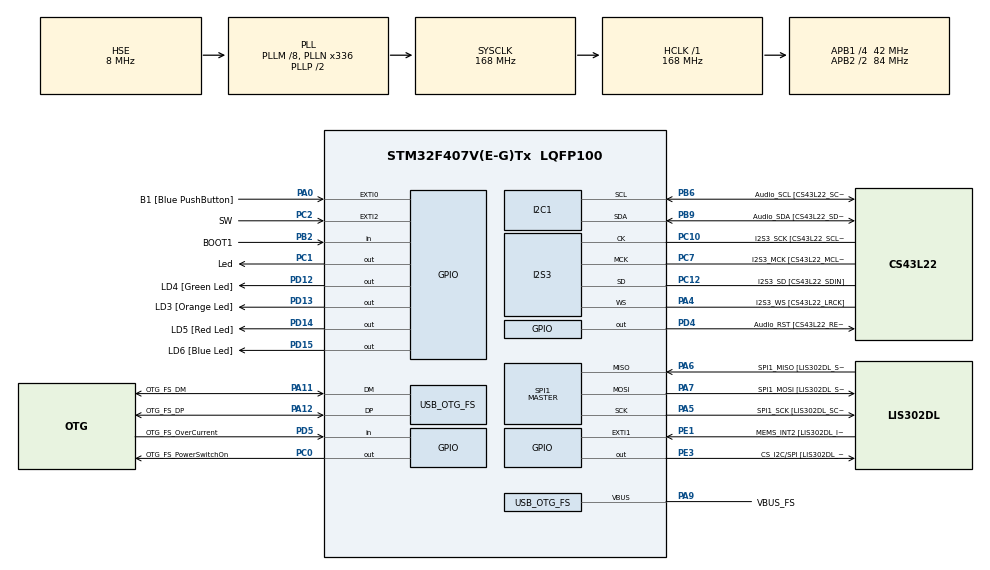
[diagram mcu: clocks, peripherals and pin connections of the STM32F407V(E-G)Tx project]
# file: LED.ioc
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I2S3.AudioFreq-Half_Duplex_Master=I2S_AUDIOFREQ_96K
I2S3.ErrorAudioFreq=-2.34 %
I2S3.ErrorAudioFreq-Half_Duplex_Master=0.8 %
I2S3.FullDuplexMode=I2S_FULLDUPLEXMODE_DISABLE
I2S3.Instance=SPI$Index
I2S3.RealAudioFreq=93.75 KHz
I2S3.RealAudioFreq-Half_Duplex_Master=96.774 KHz
I2S3.VirtualMode=I2S_MODE_MASTER
Mcu.Family=STM32F4
Mcu.Name=STM32F407V(E-G)Tx
Mcu.Package=LQFP100
NVIC.EXTI2_IRQn=true\:0\:0\:false\:false\:true\:true\:true\:true
NVIC.OTG_FS_IRQn=true\:0\:0\:false\:false\:true\:true\:true\:true
NVIC.PriorityGroup=NVIC_PRIORITYGROUP_0
PA0-WKUP.GPIO_Label=B1 [Blue PushButton]
PA0-WKUP.GPIO_ModeDefaultEXTI=GPIO_MODE_EVT_RISING
PA0-WKUP.GPIO_PuPd=GPIO_NOPULL
PA0-WKUP.Signal=GPXTI0
PA10.GPIO_Label=OTG_FS_ID
PA10.GPIO_Mode=GPIO_MODE_AF_PP
PA10.GPIO_PuPd=GPIO_NOPULL
PA10.GPIO_Speed=GPIO_SPEED_FREQ_LOW
PA10.Signal=USB_OTG_FS_ID
PA11.GPIO_Label=OTG_FS_DM
PA11.GPIO_Mode=GPIO_MODE_AF_PP
PA11.GPIO_PuPd=GPIO_NOPULL
PA11.GPIO_Speed=GPIO_SPEED_FREQ_LOW
PA11.Mode=Host_Only
PA11.Signal=USB_OTG_FS_DM
PA12.GPIO_Label=OTG_FS_DP
PA12.GPIO_Mode=GPIO_MODE_AF_PP
PA12.GPIO_PuPd=GPIO_NOPULL
PA12.GPIO_Speed=GPIO_SPEED_FREQ_LOW
PA12.Mode=Host_Only
PA12.Signal=USB_OTG_FS_DP
PA13.GPIO_Label=SWDIO
PA13.Mode=Serial_Wire
PA13.Signal=SYS_JTMS-SWDIO
PA14.GPIO_Label=SWCLK
PA14.Mode=Serial_Wire
PA14.Signal=SYS_JTCK-SWCLK
PA4.GPIO_Label=I2S3_WS [CS43L22_LRCK]
PA4.GPIO_Mode=GPIO_MODE_AF_PP
PA4.GPIO_PuPd=GPIO_NOPULL
PA4.GPIO_Speed=GPIO_SPEED_FREQ_LOW
PA4.Mode=Half_Duplex_Master
PA4.Signal=I2S3_WS
PA5.GPIO_Label=SPI1_SCK [LIS302DL_SCL/SPC]
PA5.GPIO_Mode=GPIO_MODE_AF_PP
PA5.GPIO_PuPd=GPIO_NOPULL
PA5.GPIO_Speed=GPIO_SPEED_FREQ_LOW
PA5.Mode=Full_Duplex_Master
PA5.Signal=SPI1_SCK
PA6.GPIO_Label=SPI1_MISO [LIS302DL_SDO]
PA6.GPIO_Mode=GPIO_MODE_AF_PP
PA6.GPIO_PuPd=GPIO_NOPULL
PA6.GPIO_Speed=GPIO_SPEED_FREQ_LOW
PA6.Mode=Full_Duplex_Master
PA6.Signal=SPI1_MISO
PA7.GPIO_Label=SPI1_MOSI [LIS302DL_SDA/SDI/SDO]
PA7.GPIO_Mode=GPIO_MODE_AF_PP
PA7.GPIO_PuPd=GPIO_NOPULL
PA7.GPIO_Speed=GPIO_SPEED_FREQ_LOW
PA7.Mode=Full_Duplex_Master
PA7.Signal=SPI1_MOSI
PA9.GPIO_Label=VBUS_FS
PA9.GPIO_Mode=GPIO_MODE_INPUT
PA9.GPIO_PuPd=GPIO_NOPULL
PA9.Mode=Activate_VBUS
PA9.Signal=USB_OTG_FS_VBUS
PB10.GPIO_Label=CLK_IN [MP45DT02_CLK]
PB10.GPIO_Mode=GPIO_MODE_AF_PP
PB10.GPIO_PuPd=GPIO_NOPULL
PB10.GPIO_Speed=GPIO_SPEED_FREQ_LOW
PB10.Signal=I2S2_CK
PB2.GPIO_Label=BOOT1
PB2.GPIO_Mode=GPIO_MODE_INPUT
PB2.GPIO_PuPd=GPIO_NOPULL
PB2.Signal=GPIO_Input
PB3.GPIO_Label=SWO
PB3.Signal=SYS_JTDO-SWO
PB6.GPIO_Label=Audio_SCL [CS43L22_SCL]
PB6.GPIO_Mode=GPIO_MODE_AF_OD
PB6.GPIO_Pu=GPIO_PULLUP
PB6.GPIO_PuPd=GPIO_NOPULL
PB6.GPIO_Speed=GPIO_SPEED_FREQ_LOW
PB6.Mode=I2C
PB6.Signal=I2C1_SCL
PB9.GPIO_Label=Audio_SDA [CS43L22_SDA]
PB9.GPIO_Mode=GPIO_MODE_AF_OD
PB9.GPIO_Pu=GPIO_PULLUP
PB9.GPIO_PuPd=GPIO_NOPULL
PB9.GPIO_Speed=GPIO_SPEED_FREQ_LOW
PB9.Mode=I2C
PB9.Signal=I2C1_SDA
PC0.GPIO_Label=OTG_FS_PowerSwitchOn
PC0.GPIO_PuPd=GPIO_NOPULL
PC0.GPIO_Speed=GPIO_SPEED_FREQ_LOW
PC0.PinState=GPIO_PIN_SET
PC0.Signal=GPIO_Output
PC1.GPIO_Label=Led
PC1.Signal=GPIO_Output
PC10.GPIO_Label=I2S3_SCK [CS43L22_SCLK]
PC10.GPIO_Mode=GPIO_MODE_AF_PP
PC10.GPIO_PuPd=GPIO_NOPULL
PC10.GPIO_Speed=GPIO_SPEED_FREQ_LOW
PC10.Mode=Half_Duplex_Master
PC10.Signal=I2S3_CK
PC12.GPIO_Label=I2S3_SD [CS43L22_SDIN]
PC12.GPIO_Mode=GPIO_MODE_AF_PP
PC12.GPIO_PuPd=GPIO_NOPULL
PC12.GPIO_Speed=GPIO_SPEED_FREQ_LOW
PC12.Mode=Half_Duplex_Master
PC12.Signal=I2S3_SD
PC14-OSC32_IN.GPIO_Label=PC14-OSC32_IN
PC14-OSC32_IN.Mode=LSE-External-Oscillator
PC14-OSC32_IN.Signal=RCC_OSC32_IN
PC15-OSC32_OUT.GPIO_Label=PC15-OSC32_OUT
PC15-OSC32_OUT.Mode=LSE-External-Oscillator
PC15-OSC32_OUT.Signal=RCC_OSC32_OUT
PC2.GPIO_Label=SW
PC2.Signal=GPXTI2
PC3.GPIO_Label=PDM_OUT [MP45DT02_DOUT]
PC3.GPIO_Mode=GPIO_MODE_AF_PP
PC3.GPIO_PuPd=GPIO_NOPULL
PC3.GPIO_Speed=GPIO_SPEED_FREQ_LOW
PC3.Signal=I2S2_SD
PC7.GPIO_Label=I2S3_MCK [CS43L22_MCLK]
PC7.GPIO_Mode=GPIO_MODE_AF_PP
PC7.GPIO_PuPd=GPIO_NOPULL
PC7.GPIO_Speed=GPIO_SPEED_FREQ_LOW
PC7.Mode=Master_Clock_Activated
PC7.Signal=I2S3_MCK
PD12.GPIO_Label=LD4 [Green Led]
PD12.GPIO_PuPd=GPIO_NOPULL
PD12.GPIO_Speed=GPIO_SPEED_FREQ_LOW
PD12.Signal=GPIO_Output
PD13.GPIO_Label=LD3 [Orange Led]
PD13.GPIO_PuPd=GPIO_NOPULL
PD13.GPIO_Speed=GPIO_SPEED_FREQ_LOW
PD13.Signal=GPIO_Output
PD14.GPIO_Label=LD5 [Red Led]
PD14.GPIO_PuPd=GPIO_NOPULL
PD14.GPIO_Speed=GPIO_SPEED_FREQ_LOW
PD14.Signal=GPIO_Output
PD15.GPIO_Label=LD6 [Blue Led]
PD15.GPIO_PuPd=GPIO_NOPULL
PD15.GPIO_Speed=GPIO_SPEED_FREQ_LOW
PD15.Signal=GPIO_Output
PD4.GPIO_Label=Audio_RST [CS43L22_RESET]
PD4.GPIO_PuPd=GPIO_NOPULL
PD4.GPIO_Speed=GPIO_SPEED_FREQ_LOW
PD4.Signal=GPIO_Output
PD5.GPIO_Label=OTG_FS_OverCurrent
PD5.GPIO_Mode=GPIO_MODE_INPUT
PD5.GPIO_PuPd=GPIO_NOPULL
PD5.Signal=GPIO_Input
PE1.GPIO_Label=MEMS_INT2 [LIS302DL_INT2]
PE1.GPIO_ModeDefaultEXTI=GPIO_MODE_EVT_RISING
PE1.GPIO_PuPd=GPIO_NOPULL
PE1.Signal=GPXTI1
PE3.GPIO_Label=CS_I2C/SPI [LIS302DL_CS_I2C/SPI]
PE3.GPIO_PuPd=GPIO_NOPULL
PE3.GPIO_Speed=GPIO_SPEED_FREQ_LOW
PE3.Signal=GPIO_Output
PH0-OSC_IN.GPIO_Label=PH0-OSC_IN
PH0-OSC_IN.Mode=HSE-External-Oscillator
PH0-OSC_IN.Signal=RCC_OSC_IN
PH1-OSC_OUT.GPIO_Label=PH1-OSC_OUT
PH1-OSC_OUT.Mode=HSE-External-Oscillator
PH1-OSC_OUT.Signal=RCC_OSC_OUT
ProjectManager.HeapSize=0x200
ProjectManager.StackSize=0x400
ProjectManager.TargetToolchain=STM32CubeIDE
RCC.48MHZClocksFreq_Value=48000000
RCC.AHBFreq_Value=168000000
RCC.APB1CLKDivider=RCC_HCLK_DIV4
RCC.APB1Freq_Value=42000000
RCC.APB1TimFreq_Value=84000000
RCC.APB2CLKDivider=RCC_HCLK_DIV2
RCC.APB2Freq_Value=84000000
RCC.APB2TimFreq_Value=168000000
RCC.CortexFreq_Value=168000000
RCC.HCLKFreq_Value=168000000
RCC.HSE_VALUE=8000000
RCC.HSI_VALUE=16000000
RCC.PLLM=8
RCC.PLLN=336
RCC.PLLQ=7
RCC.SYSCLKFreq_VALUE=168000000
RCC.SYSCLKSource=RCC_SYSCLKSOURCE_PLLCLK
RCC.VCOOutputFreq_Value=336000000
SPI1.BaudRatePrescaler-Full_Duplex_Master=SPI_BAUDRATEPRESCALER_2
SPI1.CalculateBaudRate-Full_Duplex_Master=42.0 MBits/s
SPI1.Direction=SPI_DIRECTION_2LINES
SPI1.Mode=SPI_MODE_MASTER
SPI1.Mode-Full_Duplex_Master=SPI_MODE_MASTER
SPI1.VirtualType=VM_MASTER
USB_HOST.BSP.number=1
USB_HOST.USBH_HandleTypeDef-CDC_FS=hUsbHostFS
USB_HOST.VirtualModeFS=Cdc
USB_HOST0.BSP.STBoard=false
USB_HOST0.BSP.api=Unknown
USB_HOST0.BSP.i2caddr=0
USB_HOST0.BSP.i2creg=0
USB_HOST0.BSP.instance=PC0
USB_HOST0.BSP.ip=GPIO
USB_HOST0.BSP.mode=Output
USB_HOST0.BSP.name=Drive_VBUS_FS
USB_HOST0.BSP.solution=PC0
USB_OTG_FS.VirtualMode=Host_Only
USB_OTG_FS.phy_itface=HCD_PHY_EMBEDDED
VP_USB_HOST_VS_USB_HOST_CDC_FS.Mode=CDC_FS
board=STM32F407G-DISC1

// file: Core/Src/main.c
D/* USER CODE BEGIN Header */
/**
  ******************************************************************************
  * @file           : main.c
  * @brief          : Main program body
  ******************************************************************************
  * @attention
  *
  * Copyright (c) 2023 STMicroelectronics.
  * All rights reserved.
  *
  * This software is licensed under terms that can be found in the LICENSE file
  * in the root directory of this software component.
  * If no LICENSE file comes with this software, it is provided AS-IS.
  *
  ******************************************************************************
  */
/* USER CODE END Header */
#include "main.h"
#include "usb_host.h"

 I2C_HandleTypeDef hi2c1;

I2S_HandleTypeDef hi2s3;

SPI_HandleTypeDef hspi1;

void SystemClock_Config(void);
static void MX_GPIO_Init(void);
static void MX_I2C1_Init(void);
static void MX_I2S3_Init(void);
static void MX_SPI1_Init(void);
void MX_USB_HOST_Process(void);

uint8_t mode =0;
/* USER CODE BEGIN 0 */
void HAL_GPIO_EXTI_Callback(uint16_t GPIO_Pin){

	mode = mode +1;
	if (mode>3)
	{
		mode=0;
	}
}
/* USER CODE END 0 */

int main(void)
{

  /* MCU Configuration--------------------------------------------------------*/

  /* Reset of all peripherals, Initializes the Flash interface and the Systick. */
  HAL_Init();

  /* Configure the system clock */
  SystemClock_Config();

  /* Initialize all configured peripherals */
  MX_GPIO_Init();
  MX_I2C1_Init();
  MX_I2S3_Init();
  MX_SPI1_Init();
  MX_USB_HOST_Init();

  /* Infinite loop */
  /* USER CODE BEGIN WHILE */
  while (1)
  {
	  if (mode == 0){
		  HAL_GPIO_WritePin(Led_GPIO_Port, Led_Pin, 0);
	  }
	  if(mode == 1){
		  HAL_GPIO_WritePin(Led_GPIO_Port, Led_Pin, 1);
	  }
	  if(mode == 2){
		  HAL_GPIO_WritePin(Led_GPIO_Port, Led_Pin, 0);
		  HAL_Delay(500);
		  HAL_GPIO_WritePin(Led_GPIO_Port, Led_Pin, 1);
		  HAL_Delay(500);
	  }
	  if(mode == 3){
		  HAL_GPIO_TogglePin(Led_GPIO_Port, Led_Pin);
	  }
    /* USER CODE END WHILE */
    MX_USB_HOST_Process();
  }
}

void SystemClock_Config(void)
{
  RCC_OscInitTypeDef RCC_OscInitStruct = {0};
  RCC_ClkInitTypeDef RCC_ClkInitStruct = {0};

  /** Configure the main internal regulator output voltage
  */
  __HAL_RCC_PWR_CLK_ENABLE();
  __HAL_PWR_VOLTAGESCALING_CONFIG(PWR_REGULATOR_VOLTAGE_SCALE1);

  /** Initializes the RCC Oscillators according to the specified parameters
  * in the RCC_OscInitTypeDef structure.
  */
  RCC_OscInitStruct.OscillatorType = RCC_OSCILLATORTYPE_HSE;
  RCC_OscInitStruct.HSEState = RCC_HSE_ON;
  RCC_OscInitStruct.PLL.PLLState = RCC_PLL_ON;
  RCC_OscInitStruct.PLL.PLLSource = RCC_PLLSOURCE_HSE;
  RCC_OscInitStruct.PLL.PLLM = 8;
  RCC_OscInitStruct.PLL.PLLN = 336;
  RCC_OscInitStruct.PLL.PLLP = RCC_PLLP_DIV2;
  RCC_OscInitStruct.PLL.PLLQ = 7;
  if (HAL_RCC_OscConfig(&RCC_OscInitStruct) != HAL_OK)
  {
    Error_Handler();
  }

  /** Initializes the CPU, AHB and APB buses clocks
  */
  RCC_ClkInitStruct.ClockType = RCC_CLOCKTYPE_HCLK|RCC_CLOCKTYPE_SYSCLK
                              |RCC_CLOCKTYPE_PCLK1|RCC_CLOCKTYPE_PCLK2;
  RCC_ClkInitStruct.SYSCLKSource = RCC_SYSCLKSOURCE_PLLCLK;
  RCC_ClkInitStruct.AHBCLKDivider = RCC_SYSCLK_DIV1;
  RCC_ClkInitStruct.APB1CLKDivider = RCC_HCLK_DIV4;
  RCC_ClkInitStruct.APB2CLKDivider = RCC_HCLK_DIV2;

  if (HAL_RCC_ClockConfig(&RCC_ClkInitStruct, FLASH_LATENCY_5) != HAL_OK)
  {
    Error_Handler();
  }
}

static void MX_I2C1_Init(void)
{

  hi2c1.Instance = I2C1;
  hi2c1.Init.ClockSpeed = 100000;
  hi2c1.Init.DutyCycle = I2C_DUTYCYCLE_2;
  hi2c1.Init.OwnAddress1 = 0;
  hi2c1.Init.AddressingMode = I2C_ADDRESSINGMODE_7BIT;
  hi2c1.Init.DualAddressMode = I2C_DUALADDRESS_DISABLE;
  hi2c1.Init.OwnAddress2 = 0;
  hi2c1.Init.GeneralCallMode = I2C_GENERALCALL_DISABLE;
  hi2c1.Init.NoStretchMode = I2C_NOSTRETCH_DISABLE;
  if (HAL_I2C_Init(&hi2c1) != HAL_OK)
  {
    Error_Handler();
  }

}

static void MX_I2S3_Init(void)
{

  hi2s3.Instance = SPI3;
  hi2s3.Init.Mode = I2S_MODE_MASTER_TX;
  hi2s3.Init.Standard = I2S_STANDARD_PHILIPS;
  hi2s3.Init.DataFormat = I2S_DATAFORMAT_16B;
  hi2s3.Init.MCLKOutput = I2S_MCLKOUTPUT_ENABLE;
  hi2s3.Init.AudioFreq = I2S_AUDIOFREQ_96K;
  hi2s3.Init.CPOL = I2S_CPOL_LOW;
  hi2s3.Init.ClockSource = I2S_CLOCK_PLL;
  hi2s3.Init.FullDuplexMode = I2S_FULLDUPLEXMODE_DISABLE;
  if (HAL_I2S_Init(&hi2s3) != HAL_OK)
  {
    Error_Handler();
  }

}

static void MX_SPI1_Init(void)
{

  /* SPI1 parameter configuration*/
  hspi1.Instance = SPI1;
  hspi1.Init.Mode = SPI_MODE_MASTER;
  hspi1.Init.Direction = SPI_DIRECTION_2LINES;
  hspi1.Init.DataSize = SPI_DATASIZE_8BIT;
  hspi1.Init.CLKPolarity = SPI_POLARITY_LOW;
  hspi1.Init.CLKPhase = SPI_PHASE_1EDGE;
  hspi1.Init.NSS = SPI_NSS_SOFT;
  hspi1.Init.BaudRatePrescaler = SPI_BAUDRATEPRESCALER_2;
  hspi1.Init.FirstBit = SPI_FIRSTBIT_MSB;
  hspi1.Init.TIMode = SPI_TIMODE_DISABLE;
  hspi1.Init.CRCCalculation = SPI_CRCCALCULATION_DISABLE;
  hspi1.Init.CRCPolynomial = 10;
  if (HAL_SPI_Init(&hspi1) != HAL_OK)
  {
    Error_Handler();
  }

}

static void MX_GPIO_Init(void)
{
  GPIO_InitTypeDef GPIO_InitStruct = {0};

  /* GPIO Ports Clock Enable */
  __HAL_RCC_GPIOE_CLK_ENABLE();
  __HAL_RCC_GPIOC_CLK_ENABLE();
  __HAL_RCC_GPIOH_CLK_ENABLE();
  __HAL_RCC_GPIOA_CLK_ENABLE();
  __HAL_RCC_GPIOB_CLK_ENABLE();
  __HAL_RCC_GPIOD_CLK_ENABLE();

  /*Configure GPIO pin Output Level */
  HAL_GPIO_WritePin(CS_I2C_SPI_GPIO_Port, CS_I2C_SPI_Pin, GPIO_PIN_RESET);

  /*Configure GPIO pin Output Level */
  HAL_GPIO_WritePin(OTG_FS_PowerSwitchOn_GPIO_Port, OTG_FS_PowerSwitchOn_Pin, GPIO_PIN_SET);

  /*Configure GPIO pin Output Level */
  HAL_GPIO_WritePin(Led_GPIO_Port, Led_Pin, GPIO_PIN_RESET);

  /*Configure GPIO pin Output Level */
  HAL_GPIO_WritePin(GPIOD, LD4_Pin|LD3_Pin|LD5_Pin|LD6_Pin
                          |Audio_RST_Pin, GPIO_PIN_RESET);

  /*Configure GPIO pin : CS_I2C_SPI_Pin */
  GPIO_InitStruct.Pin = CS_I2C_SPI_Pin;
  GPIO_InitStruct.Mode = GPIO_MODE_OUTPUT_PP;
  GPIO_InitStruct.Pull = GPIO_NOPULL;
  GPIO_InitStruct.Speed = GPIO_SPEED_FREQ_LOW;
  HAL_GPIO_Init(CS_I2C_SPI_GPIO_Port, &GPIO_InitStruct);

  /*Configure GPIO pins : OTG_FS_PowerSwitchOn_Pin Led_Pin */
  GPIO_InitStruct.Pin = OTG_FS_PowerSwitchOn_Pin|Led_Pin;
  GPIO_InitStruct.Mode = GPIO_MODE_OUTPUT_PP;
  GPIO_InitStruct.Pull = GPIO_NOPULL;
  GPIO_InitStruct.Speed = GPIO_SPEED_FREQ_LOW;
  HAL_GPIO_Init(GPIOC, &GPIO_InitStruct);

  /*Configure GPIO pin : SW_Pin */
  GPIO_InitStruct.Pin = SW_Pin;
  GPIO_InitStruct.Mode = GPIO_MODE_IT_RISING;
  GPIO_InitStruct.Pull = GPIO_NOPULL;
  HAL_GPIO_Init(SW_GPIO_Port, &GPIO_InitStruct);

  /*Configure GPIO pin : PDM_OUT_Pin */
  GPIO_InitStruct.Pin = PDM_OUT_Pin;
  GPIO_InitStruct.Mode = GPIO_MODE_AF_PP;
  GPIO_InitStruct.Pull = GPIO_NOPULL;
  GPIO_InitStruct.Speed = GPIO_SPEED_FREQ_LOW;
  GPIO_InitStruct.Alternate = GPIO_AF5_SPI2;
  HAL_GPIO_Init(PDM_OUT_GPIO_Port, &GPIO_InitStruct);

  /*Configure GPIO pin : B1_Pin */
  GPIO_InitStruct.Pin = B1_Pin;
  GPIO_InitStruct.Mode = GPIO_MODE_EVT_RISING;
  GPIO_InitStruct.Pull = GPIO_NOPULL;
  HAL_GPIO_Init(B1_GPIO_Port, &GPIO_InitStruct);

  /*Configure GPIO pin : BOOT1_Pin */
  GPIO_InitStruct.Pin = BOOT1_Pin;
  GPIO_InitStruct.Mode = GPIO_MODE_INPUT;
  GPIO_InitStruct.Pull = GPIO_NOPULL;
  HAL_GPIO_Init(BOOT1_GPIO_Port, &GPIO_InitStruct);

  /*Configure GPIO pin : CLK_IN_Pin */
  GPIO_InitStruct.Pin = CLK_IN_Pin;
  GPIO_InitStruct.Mode = GPIO_MODE_AF_PP;
  GPIO_InitStruct.Pull = GPIO_NOPULL;
  GPIO_InitStruct.Speed = GPIO_SPEED_FREQ_LOW;
  GPIO_InitStruct.Alternate = GPIO_AF5_SPI2;
  HAL_GPIO_Init(CLK_IN_GPIO_Port, &GPIO_InitStruct);

  /*Configure GPIO pins : LD4_Pin LD3_Pin LD5_Pin LD6_Pin
                           Audio_RST_Pin */
  GPIO_InitStruct.Pin = LD4_Pin|LD3_Pin|LD5_Pin|LD6_Pin
                          |Audio_RST_Pin;
  GPIO_InitStruct.Mode = GPIO_MODE_OUTPUT_PP;
  GPIO_InitStruct.Pull = GPIO_NOPULL;
  GPIO_InitStruct.Speed = GPIO_SPEED_FREQ_LOW;
  HAL_GPIO_Init(GPIOD, &GPIO_InitStruct);

  /*Configure GPIO pin : OTG_FS_OverCurrent_Pin */
  GPIO_InitStruct.Pin = OTG_FS_OverCurrent_Pin;
  GPIO_InitStruct.Mode = GPIO_MODE_INPUT;
  GPIO_InitStruct.Pull = GPIO_NOPULL;
  HAL_GPIO_Init(OTG_FS_OverCurrent_GPIO_Port, &GPIO_InitStruct);

  /*Configure GPIO pin : MEMS_INT2_Pin */
  GPIO_InitStruct.Pin = MEMS_INT2_Pin;
  GPIO_InitStruct.Mode = GPIO_MODE_EVT_RISING;
  GPIO_InitStruct.Pull = GPIO_NOPULL;
  HAL_GPIO_Init(MEMS_INT2_GPIO_Port, &GPIO_InitStruct);

  /* EXTI interrupt init*/
  HAL_NVIC_SetPriority(EXTI2_IRQn, 0, 0);
  HAL_NVIC_EnableIRQ(EXTI2_IRQn);

}

void Error_Handler(void)
{
  __disable_irq();
  while (1)
  {
  }
}
